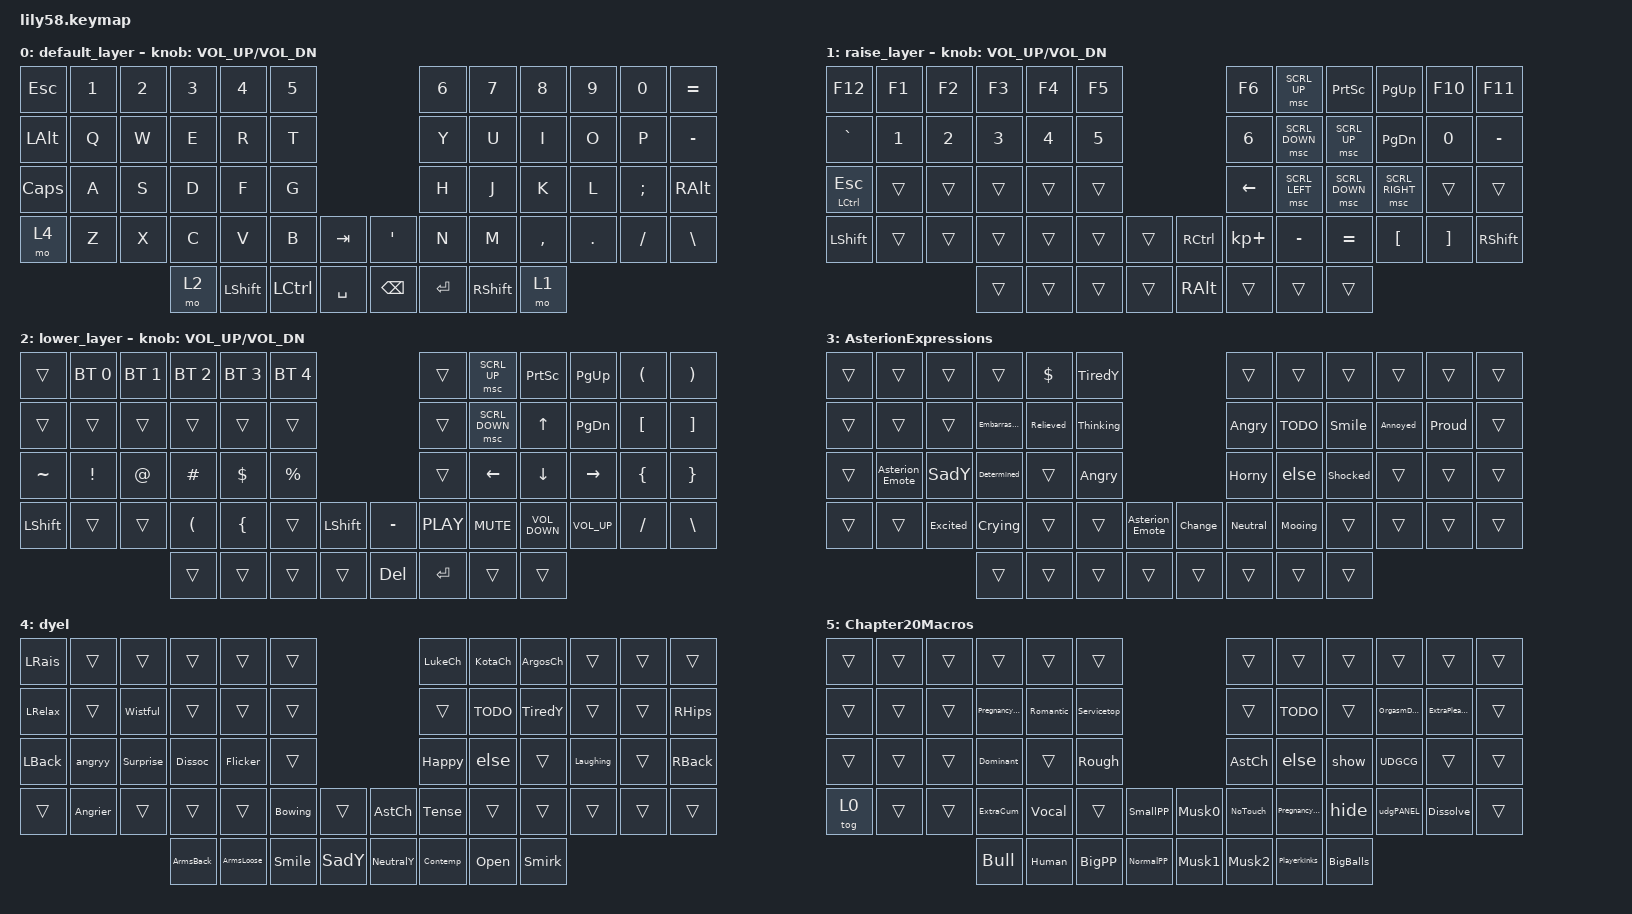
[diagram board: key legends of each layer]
/*
 * Copyright (c) 2020 The ZMK Contributors
 *
 * SPDX-License-Identifier: MIT
 */

#include <behaviors.dtsi>
#include <dt-bindings/zmk/bt.h>
#include <dt-bindings/zmk/keys.h>
#include <dt-bindings/zmk/pointing.h>

/ {
    // Combo keys are a way to combine multiple keypresses to output a different key.

    combos {
        compatible = "zmk,combos";

        combo_clear_bluetooth {
            timeout-ms = <50>; // Press all the below keys within 50ms to activate mapping
            key-positions = <52 42 0>; // Press 52=LOWER, 42=[, 0=tilde
            bindings = <&bt BT_CLR>; // activate clear bluetooth bindings for current channel
        };
    };

    macros {
        Asterion: Asterion {
            compatible = "zmk,behavior-macro";
            #binding-cells = <0>;
            bindings = <&none &kp LS(A) &kp S &kp T &kp E &kp R &kp I &kp O &kp N>;
            label = "ASTERION";
        };

        Change: Change {
            compatible = "zmk,behavior-macro";
            #binding-cells = <0>;
            bindings = <&none &kp DOT &kp C &kp H &kp A &kp N &kp G &kp E &kp LPAR &kp SQT &kp SQT &kp COMMA &kp SQT &kp SQT &kp RPAR>;
            label = "CHANGE";
        };

        Emote: Emote {
            compatible = "zmk,behavior-macro";
            #binding-cells = <0>;
            bindings = <&none &kp DOT &kp E &kp M &kp O &kp T &kp E>;
            label = "EMOTE";
        };

        Neutral: Neutral {
            compatible = "zmk,behavior-macro";
            #binding-cells = <0>;
            bindings = <&none &kp LPAR &kp LS(N) &kp LS(E) &kp LS(U) &kp LS(T) &kp LS(R) &kp LS(A) &kp LS(L) &kp RPAR>;
            label = "NEUTRAL";
        };

        Thinking: Thinking {
            compatible = "zmk,behavior-macro";
            #binding-cells = <0>;
            bindings = <&none &kp LPAR &kp LS(C) &kp LS(O) &kp LS(N) &kp LS(T) &kp LS(E) &kp LS(M) &kp LS(P) &kp LS(L) &kp LS(A) &kp LS(T) &kp LS(I) &kp LS(V) &kp LS(E) &kp RPAR>;
            label = "THINKING";
        };

        If_guest_has: If_guest_has {
            compatible = "zmk,behavior-macro";
            #binding-cells = <0>;
            bindings = <&none &kp I &kp F &kp SPACE &kp G &kp U &kp E &kp S &kp T &kp S &kp DOT &kp H &kp A &kp S &kp UNDER &kp G &kp U &kp E &kp S &kp T &kp LPAR &kp DQT &kp DQT &kp RPAR &kp COLON>;
            label = "IF_GUEST_HAS";
        };

        Luke: Luke {
            compatible = "zmk,behavior-macro";
            #binding-cells = <0>;
            bindings = <&none &kp LS(L) &kp U &kp K &kp E>;
            label = "LUKE";
        };

        Kota: Kota {
            compatible = "zmk,behavior-macro";
            #binding-cells = <0>;
            bindings = <&none &kp LS(K) &kp O &kp T &kp A>;
            label = "KOTA";
        };

        Themba: Themba {
            compatible = "zmk,behavior-macro";
            #binding-cells = <0>;
            bindings = <&none &kp LS(T) &kp H &kp E &kp M &kp B &kp A>;
            label = "THEMBA";
        };

        Embarrassed: Embarrassed {
            compatible = "zmk,behavior-macro";
            #binding-cells = <0>;
            bindings = <&none &kp LPAR &kp LS(E) &kp LS(M) &kp LS(B) &kp LS(A) &kp LS(R) &kp LS(R) &kp LS(A) &kp LS(S) &kp LS(S) &kp LS(E) &kp LS(D) &kp RPAR>;
            label = "EMBARRASSED";
        };

        Khenbish: Khenbish {
            compatible = "zmk,behavior-macro";
            #binding-cells = <0>;
            bindings = <&none &kp LS(K) &kp H &kp E &kp N &kp B &kp I &kp S &kp H>;
            label = "KHENBISH";
        };

        Argos: Argos {
            compatible = "zmk,behavior-macro";
            #binding-cells = <0>;
            bindings = <&none &kp LS(A) &kp R &kp G &kp O &kp S>;
            label = "ARGOS";
        };

        Pedro: Pedro {
            compatible = "zmk,behavior-macro";
            #binding-cells = <0>;
            bindings = <&none &kp LS(P) &kp E &kp D &kp R &kp O>;
            label = "PEDRO";
        };

        Oscar: Oscar {
            compatible = "zmk,behavior-macro";
            #binding-cells = <0>;
            bindings = <&none &kp LS(O) &kp S &kp C &kp A &kp R>;
            label = "OSCAR";
        };

        Angry: Angry {
            compatible = "zmk,behavior-macro";
            #binding-cells = <0>;
            bindings = <&none &kp LPAR &kp LS(A) &kp LS(N) &kp LS(G) &kp LS(R) &kp LS(Y) &kp RPAR>;
            label = "ANGRY";
        };

        Determined: Determined {
            compatible = "zmk,behavior-macro";
            #binding-cells = <0>;
            bindings = <&none &kp LPAR &kp LS(D) &kp LS(E) &kp LS(T) &kp LS(E) &kp LS(R) &kp LS(M) &kp LS(I) &kp LS(N) &kp LS(E) &kp LS(D) &kp RPAR>;
            label = "DETERMINED";
        };

        Sad: Sad {
            compatible = "zmk,behavior-macro";
            #binding-cells = <0>;
            bindings = <&none &kp LPAR &kp LS(S) &kp LS(A) &kp LS(D) &kp RPAR>;
            label = "SAD";
        };

        Asterion_Emote: Asterion_Emote {
            compatible = "zmk,behavior-macro";
            #binding-cells = <0>;
            bindings = <&none &kp DLLR &kp LS(A) &kp S &kp T &kp E &kp R &kp I &kp O &kp N &kp DOT &kp E &kp M &kp O &kp T &kp E>;
            label = "ASTERION_EMOTE";
        };

        Horny: Horny {
            compatible = "zmk,behavior-macro";
            #binding-cells = <0>;
            bindings = <&none &kp LPAR &kp LS(H) &kp LS(O) &kp LS(R) &kp LS(N) &kp LS(Y) &kp RPAR>;
            label = "HORNY";
        };

        Proud: Proud {
            compatible = "zmk,behavior-macro";
            #binding-cells = <0>;
            bindings = <&none &kp LPAR &kp LS(P) &kp LS(R) &kp LS(O) &kp LS(U) &kp LS(D) &kp RPAR>;
            label = "PROUD";
        };

        Tired: Tired {
            compatible = "zmk,behavior-macro";
            #binding-cells = <0>;
            bindings = <&none &kp LPAR &kp LS(T) &kp LS(I) &kp LS(R) &kp LS(E) &kp LS(D) &kp RPAR>;
            label = "TIRED";
        };

        Relieved: Relieved {
            compatible = "zmk,behavior-macro";
            #binding-cells = <0>;
            bindings = <&none &kp LPAR &kp LS(R) &kp LS(E) &kp LS(L) &kp LS(I) &kp LS(E) &kp LS(V) &kp LS(E) &kp LS(D) &kp RPAR>;
            label = "RELIEVED";
        };

        Crying: Crying {
            compatible = "zmk,behavior-macro";
            #binding-cells = <0>;
            bindings = <&none &kp LPAR &kp LS(C) &kp LS(R) &kp LS(Y) &kp LS(I) &kp LS(N) &kp LS(G) &kp RPAR>;
            label = "CRYING";
        };

        Mooing: Mooing {
            compatible = "zmk,behavior-macro";
            #binding-cells = <0>;
            bindings = <&none &kp LPAR &kp LS(M) &kp LS(O) &kp LS(O) &kp LS(I) &kp LS(N) &kp LS(G) &kp RPAR>;
            label = "MOOING";
        };

        Smiling: Smiling {
            compatible = "zmk,behavior-macro";
            #binding-cells = <0>;
            bindings = <&none &kp LPAR &kp LS(S) &kp LS(M) &kp LS(I) &kp LS(L) &kp LS(I) &kp LS(N) &kp LS(G) &kp RPAR>;
            label = "SMILING";
        };

        Shocked: Shocked {
            compatible = "zmk,behavior-macro";
            #binding-cells = <0>;
            bindings = <&none &kp LPAR &kp LS(S) &kp LS(H) &kp LS(O) &kp LS(C) &kp LS(K) &kp LS(E) &kp LS(D) &kp RPAR>;
            label = "SHOCKED";
        };

        Excited: Excited {
            compatible = "zmk,behavior-macro";
            #binding-cells = <0>;
            bindings = <&none &kp LPAR &kp LS(E) &kp LS(X) &kp LS(C) &kp LS(I) &kp LS(T) &kp LS(E) &kp LS(D) &kp RPAR>;
            label = "EXCITED";
        };

        Annoyed: Annoyed {
            compatible = "zmk,behavior-macro";
            #binding-cells = <0>;
            bindings = <&none &kp LPAR &kp LS(A) &kp LS(N) &kp LS(N) &kp LS(O) &kp LS(Y) &kp LS(E) &kp LS(D) &kp RPAR>;
            label = "ANNOYED";
        };

        Playerkinks: Playerkinks {
            compatible = "zmk,behavior-macro";
            #binding-cells = <0>;
            bindings = <&none &kp I &kp F &kp SPACE &kp P &kp L &kp A &kp Y &kp E &kp R &kp UNDER &kp K &kp I &kp N &kp K &kp S>;
            label = "PLAYERKINKS";
        };

        Romantic: Romantic {
            compatible = "zmk,behavior-macro";
            #binding-cells = <0>;
            bindings = <&none &kp LBKT &kp SQT &kp LS(M) &kp O &kp O &kp D &kp SQT &kp RBKT &kp SPACE &kp EQUAL &kp EQUAL &kp SPACE &kp DQT &kp LS(R) &kp O &kp M &kp A &kp N &kp T &kp I &kp C &kp DQT &kp COLON>;
            label = "ROMANTIC";
        };

        Dominant: Dominant {
            compatible = "zmk,behavior-macro";
            #binding-cells = <0>;
            bindings = <&none &kp LBKT &kp SQT &kp LS(M) &kp O &kp O &kp D &kp SQT &kp RBKT &kp SPACE &kp EQUAL &kp EQUAL &kp SPACE &kp DQT &kp LS(D) &kp O &kp M &kp I &kp N &kp A &kp N &kp T &kp DQT &kp COLON>;
            label = "DOMINANT";
        };

        Servicetop: Servicetop {
            compatible = "zmk,behavior-macro";
            #binding-cells = <0>;
            bindings = <&none &kp LBKT &kp SQT &kp LS(M) &kp O &kp O &kp D &kp SQT &kp RBKT &kp SPACE &kp EQUAL &kp EQUAL &kp SPACE &kp DQT &kp LS(S) &kp E &kp R &kp V &kp I &kp C &kp E &kp LS(T) &kp O &kp P &kp DQT &kp COLON>;
            label = "SERVICETOP";
        };

        Rough: Rough {
            compatible = "zmk,behavior-macro";
            #binding-cells = <0>;
            bindings = <&none &kp LBKT &kp SQT &kp LS(M) &kp O &kp O &kp D &kp SQT &kp RBKT &kp SPACE &kp EQUAL &kp EQUAL &kp SPACE &kp DQT &kp LS(R) &kp O &kp U &kp G &kp H &kp DQT &kp COLON>;
            label = "ROUGH";
        };

        SmallPP: SmallPP {
            compatible = "zmk,behavior-macro";
            #binding-cells = <0>;
            bindings = <&none &kp LBKT &kp SQT &kp LS(D) &kp I &kp C &kp K &kp LS(S) &kp I &kp Z &kp E &kp SQT &kp RBKT &kp SPACE &kp EQUAL &kp EQUAL &kp SPACE &kp DQT &kp LS(S) &kp M &kp A &kp L &kp L &kp DQT &kp COLON>;
            label = "SMALLPP";
        };

        NormalPP: NormalPP {
            compatible = "zmk,behavior-macro";
            #binding-cells = <0>;
            bindings = <&none &kp LBKT &kp SQT &kp LS(D) &kp I &kp C &kp K &kp LS(S) &kp I &kp Z &kp E &kp SQT &kp RBKT &kp SPACE &kp EQUAL &kp EQUAL &kp SPACE &kp DQT &kp LS(N) &kp O &kp R &kp M &kp A &kp L &kp DQT &kp COLON>;
            label = "NORMALPP";
        };

        BigPP: BigPP {
            compatible = "zmk,behavior-macro";
            #binding-cells = <0>;
            bindings = <&none &kp LBKT &kp SQT &kp LS(D) &kp I &kp C &kp K &kp LS(S) &kp I &kp Z &kp E &kp SQT &kp RBKT &kp SPACE &kp EQUAL &kp EQUAL &kp SPACE &kp DQT &kp LS(B) &kp I &kp G &kp DQT &kp COLON>;
            label = "BIGPP";
        };

        Human: Human {
            compatible = "zmk,behavior-macro";
            #binding-cells = <0>;
            bindings = <&none &kp LBKT &kp SQT &kp LS(D) &kp I &kp C &kp K &kp LS(T) &kp Y &kp P &kp E &kp SQT &kp RBKT &kp SPACE &kp EQUAL &kp EQUAL &kp SPACE &kp DQT &kp LS(H) &kp U &kp M &kp A &kp N &kp DQT &kp COLON>;
            label = "HUMAN";
        };

        Bull: Bull {
            compatible = "zmk,behavior-macro";
            #binding-cells = <0>;
            bindings = <&none &kp LBKT &kp SQT &kp LS(D) &kp I &kp C &kp K &kp LS(T) &kp Y &kp P &kp E &kp SQT &kp RBKT &kp SPACE &kp EQUAL &kp EQUAL &kp SPACE &kp DQT &kp LS(B) &kp U &kp L &kp L &kp DQT &kp COLON>;
            label = "BULL";
        };

        BigBalls: BigBalls {
            compatible = "zmk,behavior-macro";
            #binding-cells = <0>;
            bindings = <&none &kp I &kp F &kp SPACE &kp P &kp L &kp A &kp Y &kp E &kp R &kp UNDER &kp K &kp I &kp N &kp K &kp S &kp LBKT &kp SQT &kp LS(B) &kp I &kp G &kp LS(B) &kp A &kp L &kp L &kp S &kp SQT &kp RBKT &kp COLON>;
            label = "BIGBALLS";
        };

        Musk0: Musk0 {
            compatible = "zmk,behavior-macro";
            #binding-cells = <0>;
            bindings = <&none &kp I &kp F &kp SPACE &kp P &kp L &kp A &kp Y &kp E &kp R &kp UNDER &kp K &kp I &kp N &kp K &kp S &kp LBKT &kp SQT &kp LS(M) &kp U &kp S &kp K &kp SQT &kp RBKT &kp SPACE &kp EQUAL &kp EQUAL &kp SPACE &kp N0 &kp COLON>;
            label = "MUSK0";
        };

        Musk1: Musk1 {
            compatible = "zmk,behavior-macro";
            #binding-cells = <0>;
            bindings = <&none &kp I &kp F &kp SPACE &kp P &kp L &kp A &kp Y &kp E &kp R &kp UNDER &kp K &kp I &kp N &kp K &kp S &kp LBKT &kp SQT &kp LS(M) &kp U &kp S &kp K &kp SQT &kp RBKT &kp SPACE &kp EQUAL &kp EQUAL &kp SPACE &kp N1 &kp COLON>;
            label = "MUSK1";
        };

        Musk2: Musk2 {
            compatible = "zmk,behavior-macro";
            #binding-cells = <0>;
            bindings = <&none &kp I &kp F &kp SPACE &kp P &kp L &kp A &kp Y &kp E &kp R &kp UNDER &kp K &kp I &kp N &kp K &kp S &kp LBKT &kp SQT &kp LS(M) &kp U &kp S &kp K &kp SQT &kp RBKT &kp SPACE &kp EQUAL &kp EQUAL &kp SPACE &kp N2 &kp COLON>;
            label = "MUSK2";
        };

        Vocal: Vocal {
            compatible = "zmk,behavior-macro";
            #binding-cells = <0>;
            bindings = <&none &kp LBKT &kp SQT &kp LS(V) &kp O &kp C &kp A &kp L &kp SQT &kp RBKT &kp COLON>;
            label = "VOCAL";
        };

        NoTouch: NoTouch {
            compatible = "zmk,behavior-macro";
            #binding-cells = <0>;
            bindings = <&none &kp LBKT &kp SQT &kp LS(N) &kp O &kp LS(T) &kp O &kp U &kp C &kp H &kp SQT &kp RBKT &kp COLON>;
            label = "NOTOUCH";
        };

        ExtraPleasure: ExtraPleasure {
            compatible = "zmk,behavior-macro";
            #binding-cells = <0>;
            bindings = <&none &kp LBKT &kp SQT &kp LS(E) &kp X &kp T &kp R &kp A &kp LS(P) &kp L &kp E &kp A &kp S &kp U &kp R &kp E &kp SQT &kp RBKT &kp COLON>;
            label = "EXTRAPLEASURE";
        };

        ExtraCum: ExtraCum {
            compatible = "zmk,behavior-macro";
            #binding-cells = <0>;
            bindings = <&none &kp LBKT &kp SQT &kp LS(E) &kp X &kp T &kp R &kp A &kp LS(C) &kp U &kp M &kp SQT &kp RBKT &kp COLON>;
            label = "EXTRACUM";
        };

        PregnancyRP: PregnancyRP {
            compatible = "zmk,behavior-macro";
            #binding-cells = <0>;
            bindings = <&none &kp LBKT &kp SQT &kp LS(P) &kp R &kp E &kp G &kp N &kp A &kp N &kp C &kp Y &kp LS(R) &kp LS(P) &kp SQT &kp RBKT &kp COLON>;
            label = "PREGNANCYRP";
        };

        OrgasmDenial: OrgasmDenial {
            compatible = "zmk,behavior-macro";
            #binding-cells = <0>;
            bindings = <&none &kp LBKT &kp SQT &kp LS(O) &kp R &kp G &kp A &kp S &kp M &kp LS(D) &kp E &kp N &kp I &kp A &kp L &kp SQT &kp RBKT &kp COLON>;
            label = "ORGASMDENIAL";
        };

        TODO: TODO {
            compatible = "zmk,behavior-macro";
            #binding-cells = <0>;
            bindings = <&none &kp POUND &kp LS(T) &kp LS(O) &kp LS(D) &kp LS(O) &kp COLON>;
            label = "TODO";
        };

        else: else {
            compatible = "zmk,behavior-macro";
            #binding-cells = <0>;
            bindings = <&none &kp E &kp L &kp S &kp E &kp COLON>;
            label = "ELSE";
        };

        show: show {
            compatible = "zmk,behavior-macro";
            #binding-cells = <0>;
            bindings = <&none &kp S &kp H &kp O &kp W &kp SPACE>;
            label = "SHOW";
        };

        hide: hide {
            compatible = "zmk,behavior-macro";
            #binding-cells = <0>;
            bindings = <&none &kp H &kp I &kp D &kp E &kp SPACE>;
            label = "HIDE";
        };

        UDGCG: UDGCG {
            compatible = "zmk,behavior-macro";
            #binding-cells = <0>;
            bindings = <&none &kp C &kp G &kp SPACE &kp U &kp D &kp G &kp S &kp E &kp X &kp SPACE &kp N0 &kp X>;
            label = "UDGCG";
        };

        udgPANEL: udgPANEL {
            compatible = "zmk,behavior-macro";
            #binding-cells = <0>;
            bindings = <&none &kp C &kp G &kp UNDER &kp U &kp D &kp G &kp S &kp E &kp X &kp UNDER &kp N0 &kp X &kp UNDER &kp P &kp A &kp N &kp E &kp L>;
            label = "UDGPANEL";
        };

        Dissolve: Dissolve {
            compatible = "zmk,behavior-macro";
            #binding-cells = <0>;
            bindings = <&none &kp SPACE &kp W &kp I &kp T &kp H &kp SPACE &kp LS(D) &kp I &kp S &kp S &kp O &kp L &kp V &kp E &kp LPAR &kp N1 &kp RPAR>;
            label = "DISSOLVE";
        };

        AstCh: AsterionChange {
            compatible = "zmk,behavior-macro";
            #binding-cells = <0>;
            bindings = <&none &kp DLLR &kp LS(A) &kp S &kp T &kp E &kp R &kp I &kp O &kp N &kp DOT &kp C &kp H &kp A &kp N &kp G &kp E>;
            label = "ASTERIONCHANGE";
        };

        NeutralY: NeutralY {
            compatible = "zmk,behavior-macro";
            #binding-cells = <0>;
            bindings = <&none &kp LPAR &kp DQT &kp E &kp M &kp O &kp T &kp I &kp O &kp N &kp DQT &kp COMMA &kp DQT &kp N &kp E &kp U &kp T &kp R &kp A &kp L &kp DQT &kp RPAR>;
            label = "NEUTRALY";
        };

        Smile: Smile {
            compatible = "zmk,behavior-macro";
            #binding-cells = <0>;
            bindings = <&none &kp LPAR &kp DQT &kp E &kp M &kp O &kp T &kp I &kp O &kp N &kp DQT &kp COMMA &kp DQT &kp S &kp M &kp I &kp L &kp I &kp N &kp G &kp DQT &kp RPAR>;
            label = "SMILE";
        };

        angryy: angryy {
            compatible = "zmk,behavior-macro";
            #binding-cells = <0>;
            bindings = <&none &kp LPAR &kp DQT &kp E &kp M &kp O &kp T &kp I &kp O &kp N &kp DQT &kp COMMA &kp DQT &kp A &kp N &kp G &kp R &kp Y &kp DQT &kp RPAR>;
            label = "ANGRYY";
        };

        SadY: SadY {
            compatible = "zmk,behavior-macro";
            #binding-cells = <0>;
            bindings = <&none &kp LPAR &kp DQT &kp E &kp M &kp O &kp T &kp I &kp O &kp N &kp DQT &kp COMMA &kp DQT &kp S &kp A &kp D &kp DQT &kp RPAR>;
            label = "SADY";
        };

        Surprise: Surprise {
            compatible = "zmk,behavior-macro";
            #binding-cells = <0>;
            bindings = <&none &kp LPAR &kp DQT &kp E &kp M &kp O &kp T &kp I &kp O &kp N &kp DQT &kp COMMA &kp DQT &kp S &kp U &kp R &kp P &kp R &kp I &kp S &kp E &kp DQT &kp RPAR>;
            label = "SURPRISE";
        };

        TiredY: TiredY {
            compatible = "zmk,behavior-macro";
            #binding-cells = <0>;
            bindings = <&none &kp LPAR &kp DQT &kp E &kp M &kp O &kp T &kp I &kp O &kp N &kp DQT &kp COMMA &kp DQT &kp T &kp I &kp R &kp E &kp D &kp DQT &kp RPAR>;
            label = "TIREDY";
        };

        Bowing: Bowing {
            compatible = "zmk,behavior-macro";
            #binding-cells = <0>;
            bindings = <&none &kp LPAR &kp DQT &kp E &kp M &kp O &kp T &kp I &kp O &kp N &kp DQT &kp COMMA &kp DQT &kp B &kp O &kp W &kp I &kp N &kp G &kp DQT &kp RPAR>;
            label = "BOWING";
        };

        Laughing: Laughing {
            compatible = "zmk,behavior-macro";
            #binding-cells = <0>;
            bindings = <&none &kp LPAR &kp DQT &kp E &kp M &kp O &kp T &kp I &kp O &kp N &kp DQT &kp COMMA &kp DQT &kp L &kp A &kp U &kp G &kp H &kp I &kp N &kp G &kp DQT &kp RPAR>;
            label = "LAUGHING";
        };

        Contemp: Contemplative {
            compatible = "zmk,behavior-macro";
            #binding-cells = <0>;
            bindings = <&none &kp LPAR &kp DQT &kp E &kp M &kp O &kp T &kp I &kp O &kp N &kp DQT &kp COMMA &kp DQT &kp C &kp O &kp N &kp T &kp E &kp M &kp P &kp L &kp A &kp T &kp I &kp V &kp E &kp DQT &kp RPAR>;
            label = "CONTEMPLATIVE";
        };

        Angrier: Angrier {
            compatible = "zmk,behavior-macro";
            #binding-cells = <0>;
            bindings = <&none &kp LPAR &kp DQT &kp E &kp M &kp O &kp T &kp I &kp O &kp N &kp DQT &kp COMMA &kp DQT &kp A &kp N &kp G &kp R &kp I &kp E &kp R &kp DQT &kp RPAR>;
            label = "ANGRIER";
        };

        Flicker: Flicker {
            compatible = "zmk,behavior-macro";
            #binding-cells = <0>;
            bindings = <&none &kp LPAR &kp DQT &kp E &kp M &kp O &kp T &kp I &kp O &kp N &kp DQT &kp COMMA &kp DQT &kp F &kp L &kp I &kp C &kp K &kp E &kp R &kp DQT &kp RPAR>;
            label = "FLICKER";
        };

        Happy: Happy {
            compatible = "zmk,behavior-macro";
            #binding-cells = <0>;
            bindings = <&none &kp LPAR &kp DQT &kp E &kp M &kp O &kp T &kp I &kp O &kp N &kp DQT &kp COMMA &kp DQT &kp H &kp A &kp P &kp P &kp Y &kp DQT &kp RPAR>;
            label = "HAPPY";
        };

        Open: Open {
            compatible = "zmk,behavior-macro";
            #binding-cells = <0>;
            bindings = <&none &kp LPAR &kp DQT &kp E &kp M &kp O &kp T &kp I &kp O &kp N &kp DQT &kp COMMA &kp DQT &kp O &kp P &kp E &kp N &kp DQT &kp RPAR>;
            label = "OPEN";
        };

        Smirk: Smirk {
            compatible = "zmk,behavior-macro";
            #binding-cells = <0>;
            bindings = <&none &kp LPAR &kp DQT &kp E &kp M &kp O &kp T &kp I &kp O &kp N &kp DQT &kp COMMA &kp DQT &kp S &kp M &kp I &kp R &kp K &kp DQT &kp RPAR>;
            label = "SMIRK";
        };

        Tense: Tense {
            compatible = "zmk,behavior-macro";
            #binding-cells = <0>;
            bindings = <&none &kp LPAR &kp DQT &kp E &kp M &kp O &kp T &kp I &kp O &kp N &kp DQT &kp COMMA &kp DQT &kp T &kp E &kp N &kp S &kp E &kp DQT &kp RPAR>;
            label = "TENSE";
        };

        Wistful: Wistful {
            compatible = "zmk,behavior-macro";
            #binding-cells = <0>;
            bindings = <&none &kp LPAR &kp DQT &kp E &kp M &kp O &kp T &kp I &kp O &kp N &kp DQT &kp COMMA &kp DQT &kp W &kp I &kp S &kp T &kp F &kp U &kp L &kp DQT &kp RPAR>;
            label = "WISTFUL";
        };

        Dissoc: Dissociating {
            compatible = "zmk,behavior-macro";
            #binding-cells = <0>;
            bindings = <&none &kp LPAR &kp DQT &kp E &kp M &kp O &kp T &kp I &kp O &kp N &kp DQT &kp COMMA &kp DQT &kp D &kp I &kp S &kp S &kp O &kp C &kp I &kp A &kp T &kp I &kp N &kp G &kp DQT &kp RPAR>;
            label = "DISSOCIATING";
        };

        ArmsBack: ArmsBack {
            compatible = "zmk,behavior-macro";
            #binding-cells = <0>;
            bindings = <&none &kp DOLLAR &kp LS(A) &kp S &kp T &kp E &kp R &kp I &kp O &kp N &kp DOT &kp A &kp R &kp M &kp S &kp LS(B) &kp A &kp C &kp K &kp LPAR &kp RPAR>;
            label = "ARMSBACK";
        };

        ArmsLoose: ArmsLoose {
            compatible = "zmk,behavior-macro";
            #binding-cells = <0>;
            bindings = <&none &kp DOLLAR &kp LS(A) &kp S &kp T &kp E &kp R &kp I &kp O &kp N &kp DOT &kp A &kp R &kp M &kp S &kp LS(L) &kp O &kp O &kp S &kp E &kp LPAR &kp RPAR>;
            label = "ARMSLOOSE";
        };

        LBack: LeftBack {
            compatible = "zmk,behavior-macro";
            #binding-cells = <0>;
            bindings = <&none &kp LPAR &kp DQT &kp L &kp E &kp F &kp T &kp A &kp R &kp M &kp DQT &kp COMMA &kp DQT &kp B &kp A &kp C &kp K &kp DQT &kp RPAR>;
            label = "LEFTBACK";
        };

        LRelax: LeftRelaxed {
            compatible = "zmk,behavior-macro";
            #binding-cells = <0>;
            bindings = <&none &kp LPAR &kp DQT &kp L &kp E &kp F &kp T &kp A &kp R &kp M &kp DQT &kp COMMA &kp DQT &kp R &kp E &kp L &kp A &kp X &kp E &kp D &kp DQT &kp RPAR>;
            label = "LEFTRELAXED";
        };

        LRais: LeftRaised {
            compatible = "zmk,behavior-macro";
            #binding-cells = <0>;
            bindings = <&none &kp LPAR &kp DQT &kp L &kp E &kp F &kp T &kp A &kp R &kp M &kp DQT &kp COMMA &kp DQT &kp R &kp A &kp I &kp S &kp E &kp D &kp DQT &kp RPAR>;
            label = "LEFTRAISED";
        };

        RBack: RightBack {
            compatible = "zmk,behavior-macro";
            #binding-cells = <0>;
            bindings = <&none &kp LPAR &kp DQT &kp R &kp I &kp G &kp H &kp T &kp A &kp R &kp M &kp DQT &kp COMMA &kp DQT &kp B &kp A &kp C &kp K &kp DQT &kp RPAR>;
            label = "RIGHTBACK";
        };

        RHips: RightHips {
            compatible = "zmk,behavior-macro";
            #binding-cells = <0>;
            bindings = <&none &kp LPAR &kp DQT &kp R &kp I &kp G &kp H &kp T &kp A &kp R &kp M &kp DQT &kp COMMA &kp DQT &kp H &kp I &kp P &kp S &kp DQT &kp RPAR>;
            label = "RIGHTHIPS";
        };

        LukeCh: LukeCh {
            compatible = "zmk,behavior-macro";
            #binding-cells = <0>;
            bindings = <&none &kp DLLR &kp LS(L) &kp U &kp K &kp E &kp DOT &kp C &kp H &kp A &kp N &kp G &kp E>;
            label = "LUKECH";
        };

        KotaCh: KotaCh {
            compatible = "zmk,behavior-macro";
            #binding-cells = <0>;
            bindings = <&none &kp DLLR &kp LS(K) &kp O &kp T &kp A &kp DOT &kp C &kp H &kp A &kp N &kp G &kp E>;
            label = "KOTACH";
        };

        ArgosCh: ArgosCh {
            compatible = "zmk,behavior-macro";
            #binding-cells = <0>;
            bindings = <&none &kp DLLR &kp LS(A) &kp R &kp G &kp O &kp S &kp DOT &kp C &kp H &kp A &kp N &kp G &kp E>;
            label = "ARGOSCH";
        };

        ThembaCh: ThembaCh {
            compatible = "zmk,behavior-macro";
            #binding-cells = <0>;
            bindings = <&none &kp DLLR &kp LS(T) &kp H &kp E &kp M &kp B &kp A &kp DOT &kp C &kp H &kp A &kp N &kp G &kp E>;
            label = "THEMBACH";
        };

        KhenCh: KhenCh {
            compatible = "zmk,behavior-macro";
            #binding-cells = <0>;
            bindings = <&none &kp DLLR &kp LS(K) &kp H &kp E &kp N &kp B &kp I &kp S &kp H &kp DOT &kp C &kp H &kp A &kp N &kp G &kp E>;
            label = "KHENCH";
        };
    };

    keymap {
        compatible = "zmk,keymap";

        default_layer {
            // ------------------------------------------------------------------------------------------------------------
            // |   `      |  1  |  2  |  3   |  4   |  5   |                   |  6   |  7    |  8    |  9   |   0   |   -   |
            // |  TAB     |  Q  |  W  |  E   |  R   |  T   |                   |  Y   |  U    |  I    |  O   |   P   |   =   |
            // |hCTRL tESC|  A  |  S  |  D   |  F   |  G   |                   |  H   |  J    |  K    |  L   |   ;   |   '   |
            // | SHIFT    |  Z  |  X  |  C   |  V   |  B   |   "["  |  |  "]"  |  N   |  M    |  ,    |  .   |   /   | SHIFT |
            //                        | ALT  | GUI  | LOWER|  SPACE |  | BSPC  | ENTER| RAISE | CTRL  |

            bindings = <
&kp ESCAPE    &kp N1  &kp N2  &kp N3  &kp N4          &kp N5                                           &kp N6   &kp N7           &kp N8     &kp N9   &kp N0    &kp EQUAL
&kp LEFT_ALT  &kp Q   &kp W   &kp E   &kp R           &kp T                                            &kp Y    &kp U            &kp I      &kp O    &kp P     &kp MINUS
&kp CLCK      &kp A   &kp S   &kp D   &kp F           &kp G                                            &kp H    &kp J            &kp K      &kp L    &kp SEMI  &kp RIGHT_ALT
&mo 4         &kp Z   &kp X   &kp C   &kp V           &kp B             &kp TAB      &kp SINGLE_QUOTE  &kp N    &kp M            &kp COMMA  &kp DOT  &kp FSLH  &kp BACKSLASH
                              &mo 2   &kp LEFT_SHIFT  &kp LEFT_CONTROL  &kp SPACE    &kp BSPC          &kp RET  &kp RIGHT_SHIFT  &mo 1
            >;

            sensor-bindings = <&inc_dec_kp C_VOL_UP C_VOL_DN>;
        };

        raise_layer {
            // ------------------------------------------------------------------------------------------------------------
            // |  F12    |  F1 |  F2 |  F3  |  F4  |  F5  |                   |  F6  |   F7  |   F8  |  F9  |  F10  |  F11  |
            // |   `     |  1  |  2  |  3   |  4   |  5   |                   |  6   |   7   |   8   |  9   |   0   |   -   |
            // |CTRL/ESC |     |     |      |      |      |                   |  <-  |   ^   |   v   |  ->  |       |       |
            // | SHIFT   |     |     |      |      |      |        |  |       |  +   |   -   |   =   |  [   |   ]   |   \   |
            //                       |      |      |      |        |  |       |      |       |       |

            bindings = <
&kp F12        &kp F1  &kp F2  &kp F3  &kp F4  &kp F5                               &kp F6       &msc SCRL_UP    &kp PRINTSCREEN  &kp PG_UP        &kp F10   &kp F11
&kp GRAVE      &kp N1  &kp N2  &kp N3  &kp N4  &kp N5                               &kp N6       &msc SCRL_DOWN  &msc SCRL_UP     &kp PAGE_DOWN    &kp N0    &kp MINUS
&mt LCTRL ESC  &trans  &trans  &trans  &trans  &trans                               &kp LEFT     &msc SCRL_LEFT  &msc SCRL_DOWN   &msc SCRL_RIGHT  &trans    &trans
&kp LSHIFT     &trans  &trans  &trans  &trans  &trans  &trans    &kp RIGHT_CONTROL  &kp KP_PLUS  &kp MINUS       &kp EQUAL        &kp LBKT         &kp RBKT  &kp RIGHT_SHIFT
                               &trans  &trans  &trans  &trans    &kp RIGHT_ALT      &trans       &trans          &trans
            >;

            sensor-bindings = <&inc_dec_kp C_VOL_UP C_VOL_DN>;
        };

        lower_layer {
            // ------------------------------------------------------------------------------------------------------------
            // |          | BT1     | BT2    |  BT3 |  BT4  |  BT5 |                    |      |       |       |      |       |       |
            // |          |         |        |      |       |      |                    |      |       |       |  [   |   ]   |   \   |
            // |   ~      |  !      |  @     |  #   |  $    |  %   |                    |  ^   |  &    |  *    |  (   |   )   |   _   |
            // | SHIFT    |  EP_ON  | EP_OFF |      |  (    |  {   |       |  |   DEL   |  }   |  )    |  +    |  {   |   }   | SHIFT |
            //                               |      |       |      |       |  |         |      |       |       |

            bindings = <
&trans      &bt BT_SEL 0  &bt BT_SEL 1  &bt BT_SEL 2  &bt BT_SEL 3  &bt BT_SEL 4                                &trans      &msc SCRL_UP    &kp PSCRN          &kp PG_UP        &kp LEFT_PARENTHESIS  &kp RIGHT_PARENTHESIS
&trans      &trans        &trans        &trans        &trans        &trans                                      &trans      &msc SCRL_DOWN  &kp UP             &kp PAGE_DOWN    &kp LBKT              &kp RBKT
&kp TILDE   &kp EXCL      &kp AT        &kp HASH      &kp DOLLAR    &kp PRCNT                                   &trans      &kp LEFT        &kp DOWN           &kp RIGHT        &kp LEFT_BRACE        &kp RIGHT_BRACE
&kp LSHIFT  &trans        &trans        &kp LPAR      &kp LBRC      &trans        &kp LEFT_SHIFT    &kp MINUS   &kp C_PLAY  &kp C_MUTE      &kp C_VOLUME_DOWN  &kp C_VOLUME_UP  &kp SLASH             &kp BACKSLASH
                                        &trans        &trans        &trans        &trans            &kp DELETE  &kp ENTER   &trans          &trans
            >;

            sensor-bindings = <&inc_dec_kp C_VOL_UP C_VOL_DN>;
        };

        AsterionExpressions {
            bindings = <
&trans  &trans           &trans    &trans        &kp DOLLAR  &TiredY                                &trans    &trans   &trans    &trans    &trans  &trans
&trans  &trans           &trans    &Embarrassed  &Relieved   &Thinking                              &Angry    &TODO    &Smile    &Annoyed  &Proud  &trans
&trans  &Asterion_Emote  &SadY     &Determined   &trans      &Angry                                 &Horny    &else    &Shocked  &trans    &trans  &trans
&trans  &trans           &Excited  &Crying       &trans      &trans     &Asterion_Emote    &Change  &Neutral  &Mooing  &trans    &trans    &trans  &trans
                                   &trans        &trans      &trans     &trans             &trans   &trans    &trans   &trans
            >;
        };

        dyel {
            bindings = <
&LRais   &trans    &trans     &trans     &trans      &trans                        &LukeCh   &KotaCh  &ArgosCh  &trans     &trans  &trans
&LRelax  &trans    &Wistful   &trans     &trans      &trans                        &trans    &TODO    &TiredY   &trans     &trans  &RHips
&LBack   &angryy   &Surprise  &Dissoc    &Flicker    &trans                        &Happy    &else    &trans    &Laughing  &trans  &RBack
&trans   &Angrier  &trans     &trans     &trans      &Bowing  &trans    &AstCh     &Tense    &trans   &trans    &trans     &trans  &trans
                              &ArmsBack  &ArmsLoose  &Smile   &SadY     &NeutralY  &Contemp  &Open    &Smirk
            >;
        };

        Chapter20Macros {
            bindings = <
&trans  &trans  &trans  &trans        &trans     &trans                            &trans    &trans        &trans     &trans         &trans          &trans
&trans  &trans  &trans  &PregnancyRP  &Romantic  &Servicetop                       &trans    &TODO         &trans     &OrgasmDenial  &ExtraPleasure  &trans
&trans  &trans  &trans  &Dominant     &trans     &Rough                            &AstCh    &else         &show      &UDGCG         &trans          &trans
&tog 0  &trans  &trans  &ExtraCum     &Vocal     &trans       &SmallPP     &Musk0  &NoTouch  &PregnancyRP  &hide      &udgPANEL      &Dissolve       &trans
                        &Bull         &Human     &BigPP       &NormalPP    &Musk1  &Musk2    &Playerkinks  &BigBalls
            >;
        };
    };

    conditional_layers {
        compatible = "zmk,conditional-layers";

        MinoHotel_Coding {
            if-layers = <1 2>;
            then-layer = <3>;
        };
    };
};
